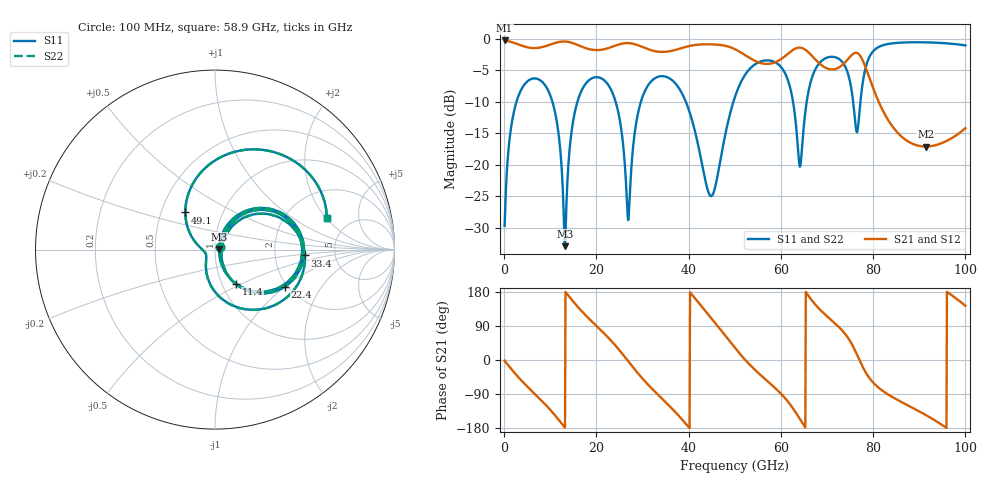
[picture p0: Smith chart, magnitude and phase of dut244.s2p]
! Touchstone file exported from HFSS 2026.1.0
!  File:  C:/ffzhzh/LocalFiles/Ansys_Project_Files/temp_train_TSV_RDL_244_1783668075_33328.aedt
!  Generated:  03:40:29 PM Jul 10, 2026
!  Design:  TSV_RDL
!  Project:  temp_train_TSV_RDL_244_1783668075_33328
! Variables:
!  h_bsmrdl = 2.7um
!  h_ox = 20um
!  h_rdl = 5um
!  h_sub = 80.99um
!  h_tmrdl = 2.1um
!  h_tsv = 80.99um
!  h_via = 3um
!  l_bsmrdl = 389.65um
!  l_sub = 4388.9um
!  l_tmrdl = 674.35um
!  m_sub = 200um
!  pitch = 48.9um
!  r_tsv = 12.19um
!  s_tmrdl = 10um
!  w_bsmrdl = 12.11um
!  w_sub = 500um
!  w_tmrdl = 28.74um
!  x_tsv_center1 = 688.72um
!  x_tsv_center2 = 1090.48um
!  x_tsv_center3 = 1793.57um
!  x_tsv_center4 = 2195.33um
!  x_tsv_center5 = 2898.42um
!  x_tsv_center6 = 3300.18um
# GHz S MA R 50.000000
! Terminal data exported
! Port[1] = TM_RDL1_1_T1
! Port[2] = TM_RDL5_1_T1
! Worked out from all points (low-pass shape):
!   1000 points, 100 MHz to 100 GHz, reference 50 ohm
!   highest |S21| = -0.26 dB at 100 MHz (marker M1); lowest = -17.1 dB at 91.4 GHz (marker M2)
!   |S21| within 3 dB of the highest: start of sweep to 53.76 GHz; 59.93 GHz to 67.45 GHz (7.518 GHz wide, 11.8 % of centre) (the widest 2 of 3)
!   lowest |S11| = -32.9 dB at 13.2 GHz (marker M3), VSWR 1.05, Z = 52.3 + j0.326 ohm
!   |S11| at or under -10 dB: 10.47 GHz to 15.88 GHz (5.411 GHz wide, 41.1 % of centre); 24.18 GHz to 29.64 GHz (5.463 GHz wide, 20.3 % of centre); 39.4 GHz to 49.7 GHz (10.29 GHz wide, 23.1 % of centre) (the widest 3 of 6)
!   |S22| runs from -32.8 to -0.5 dB; largest |S21 - S12| = 1.2e-12
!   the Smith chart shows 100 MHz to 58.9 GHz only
!   S11 on the Smith chart (normalised r, x): 100 MHz: 1.06, +0.03; 11.4 GHz: 1.16, -0.46; 22.4 GHz: 1.93, -0.99; 33.4 GHz: 2.98, -0.26; 49.1 GHz: 0.66, +0.30; 58.9 GHz: 3.36, +2.03
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0.1  0.03283 25.7  0.9707 -1.6  0.9707 -1.6  0.03283 25.7
! Gamma 0 0 0 0
! Port Impedance 50 0 50 0
4  0.4134 28.3  0.8773 -57.4  0.8773 -57.4  0.4134 28.3
11.4  0.2223 -58.4  0.9352 -151.4  0.9352 -151.4  0.2223 -58.3
13.2  0.0227 7.9  0.9523 -178.9  0.9523 -178.9  0.02291 7.9
16.8  0.3895 35.2  0.8671 129.0  0.8671 129.0  0.3896 35.2
22.4  0.4401 -28.1  0.8404 61.2  0.8404 61.2  0.4403 -28.0
26.9  0.03655 -4.2  0.9255 -3.2  0.9255 -3.2  0.03743 -4.4
29.3  0.2845 43.2  0.8817 -39.3  0.8817 -39.3  0.2845 43.0
33.4  0.5007 -3.7  0.7908 -92.1  0.7908 -92.1  0.5007 -3.9
41.1  0.2024 -96.3  0.8906 166.9  0.8906 166.9  0.2023 -96.6
44.9  0.05661 -156.7  0.904 110.4  0.904 110.4  0.05658 -157.5
49.1  0.2651 128.6  0.8563 46.3  0.8563 46.3  0.265 128.6
50.1  0.3511 114.4  0.8257 31.1  0.8257 31.1  0.351 114.5
58.9  0.6474 15.7  0.655 -75.7  0.655 -75.7  0.6474 15.9
64.1  0.09691 18.0  0.8519 -155.3  0.8519 -155.3  0.09993 18.2
66.7  0.4873 57.7  0.7348 157.6  0.7348 157.6  0.4876 57.4
71.9  0.7127 5.9  0.5779 94.8  0.5779 94.8  0.7125 5.7
76.6  0.1858 19.4  0.7707 11.5  0.7707 11.5  0.1822 19.7
78.8  0.6656 34.3  0.5368 -40.8  0.5368 -40.8  0.6652 34.5
83.4  0.9122 -7.1  0.2226 -92.1  0.2226 -92.1  0.9122 -7.0
91.4  0.9379 -55.5  0.14 -145.1  0.14 -145.1  0.9379 -55.4
100  0.8872 -124.4  0.1957 143.2  0.1957 143.2  0.8871 -124.2
